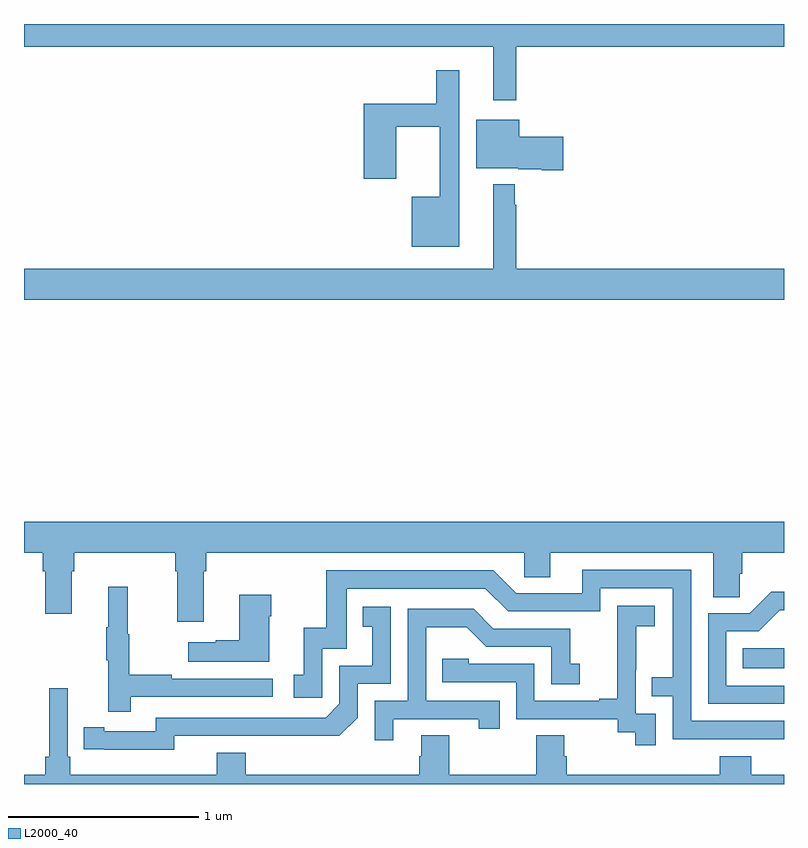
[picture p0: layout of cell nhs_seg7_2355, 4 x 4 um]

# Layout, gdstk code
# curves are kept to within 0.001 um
import gdstk
lib = gdstk.Library(unit=1e-6, precision=1e-09)
def R(c, l, rs):  # rectangles x0, y0, x1, y1
    for r in rs: c.add(gdstk.rectangle(r[:2], r[2:], *l))
def P(c, l, *ps):  # polygons
    for p in ps: c.add(gdstk.Polygon(p, *l))
L2000_40 = (2000, 40)

nhs_seg7_2355 = lib.new_cell('nhs_seg7_2355')
R(nhs_seg7_2355, L2000_40, [(266.782,1066.61,267,1066.714)])
P(nhs_seg7_2355, L2000_40, [(265.591,1069.88),(267,1069.88),(267,1070),(263,1070),(263,1069.88),(265.469,1069.88),(265.469,1069.599),(265.591,1069.599)],
  [(265.291,1069.756),(265.17,1069.756),(265.17,1069.579),(264.788,1069.579),(264.788,1069.185),(264.958,1069.185),(264.958,1069.458),(265.187,1069.458),(265.187,1069.09),(265.04,1069.09),(265.04,1068.827),(265.291,1068.827)],
  [(265.837,1069.407),(265.606,1069.407),(265.606,1069.495),(265.379,1069.495),(265.379,1069.241),(265.602,1069.241),(265.602,1069.235),(265.724,1069.235),(265.724,1069.229),(265.837,1069.229)],
  [(267,1068.712),(265.591,1068.712),(265.591,1069.049),(265.583,1069.049),(265.583,1069.156),(265.469,1069.156),(265.469,1068.712),(263,1068.712),(263,1068.548),(267,1068.548)],
  [(263.947,1067.12),(263.96,1067.12),(263.96,1067.216),(265.632,1067.216),(265.632,1067.089),(265.771,1067.089),(265.771,1067.216),(266.627,1067.216),(266.627,1066.984),(266.766,1066.984),(266.766,1067.107),(266.78,1067.107),(266.78,1067.216),(267,1067.216),(267,1067.38),(263,1067.38),(263,1067.216),(263.099,1067.216),(263.099,1067.12),(263.111,1067.12),(263.111,1066.896),(263.251,1066.896),(263.251,1067.12),(263.264,1067.12),(263.264,1067.216),(263.795,1067.216),(263.795,1067.12),(263.807,1067.12),(263.807,1066.854),(263.947,1066.854)],
  [(267,1066.332),(266.511,1066.332),(266.511,1067.127),(265.937,1067.127),(265.937,1067.004),(265.59,1067.004),(265.47,1067.124),(264.591,1067.124),(264.591,1066.822),(264.473,1066.822),(264.473,1066.575),(264.42,1066.575),(264.42,1066.455),(264.57,1066.455),(264.57,1066.713),(264.699,1066.713),(264.699,1067.028),(265.428,1067.028),(265.548,1066.908),(266.034,1066.908),(266.034,1067.031),(266.415,1067.031),(266.415,1066.562),(266.305,1066.562),(266.305,1066.461),(266.415,1066.461),(266.415,1066.236),(267,1066.235)],
  [(263.561,1066.458),(264.31,1066.458),(264.31,1066.554),(263.777,1066.554),(263.777,1066.574),(263.554,1066.574),(263.554,1066.788),(263.546,1066.788),(263.546,1067.038),(263.444,1067.038),(263.444,1066.825),(263.433,1066.825),(263.433,1066.651),(263.444,1066.651),(263.444,1066.38),(263.561,1066.38)],
  [(267,1066.518),(266.697,1066.518),(266.697,1066.803),(266.866,1066.803),(266.977,1066.914),(267,1066.914),(267,1067.012),(266.933,1067.012),(266.82,1066.899),(266.601,1066.899),(266.601,1066.422),(267,1066.422)],
  [(264.292,1066.883),(264.3,1066.883),(264.3,1066.996),(264.134,1066.996),(264.134,1066.757),(264.008,1066.757),(264.008,1066.747),(263.865,1066.747),(263.865,1066.643),(264.292,1066.643)],
  [(266.325,1066.371),(266.22,1066.371),(266.22,1066.601),(266.222,1066.601),(266.222,1066.829),(266.32,1066.829),(266.32,1066.939),(266.122,1066.939),(266.122,1066.733),(266.123,1066.733),(266.123,1066.45),(266.027,1066.45),(266.027,1066.437),(265.686,1066.437),(265.686,1066.632),(265.341,1066.632),(265.341,1066.659),(265.201,1066.659),(265.201,1066.536),(265.59,1066.536),(265.59,1066.341),(266.124,1066.341),(266.124,1066.273),(266.217,1066.273),(266.217,1066.203),(266.325,1066.203)],
  [(263.79,1066.254),(264.658,1066.253),(264.756,1066.35),(264.756,1066.527),(264.93,1066.527),(264.93,1066.933),(264.784,1066.933),(264.784,1066.827),(264.833,1066.827),(264.833,1066.623),(264.66,1066.623),(264.66,1066.422),(264.588,1066.35),(263.694,1066.35),(263.694,1066.278),(263.422,1066.278),(263.422,1066.298),(263.314,1066.298),(263.314,1066.182),(263.79,1066.181)],
  [(264.943,1066.341),(265.394,1066.341),(265.394,1066.29),(265.505,1066.29),(265.505,1066.437),(265.116,1066.437),(265.116,1066.826),(265.33,1066.826),(265.434,1066.722),(265.776,1066.722),(265.776,1066.524),(265.924,1066.524),(265.924,1066.633),(265.875,1066.633),(265.875,1066.818),(265.471,1066.818),(265.366,1066.923),(265.02,1066.923),(265.02,1066.437),(264.846,1066.437),(264.846,1066.23),(264.943,1066.23)],
  [(267,1066.048),(266.828,1066.048),(266.828,1066.147),(266.663,1066.147),(266.663,1066.048),(265.856,1066.048),(265.856,1066.146),(265.843,1066.146),(265.843,1066.256),(265.696,1066.256),(265.696,1066.048),(265.239,1066.048),(265.239,1066.256),(265.091,1066.256),(265.091,1066.146),(265.079,1066.146),(265.079,1066.048),(264.167,1066.048),(264.167,1066.165),(264.014,1066.165),(264.014,1066.048),(263.243,1066.048),(263.243,1066.144),(263.229,1066.144),(263.229,1066.504),(263.132,1066.504),(263.132,1066.144),(263.113,1066.144),(263.113,1066.048),(263,1066.048),(263,1066),(267,1066)])

lib.write_gds('nhs_seg7_2355.gds')
